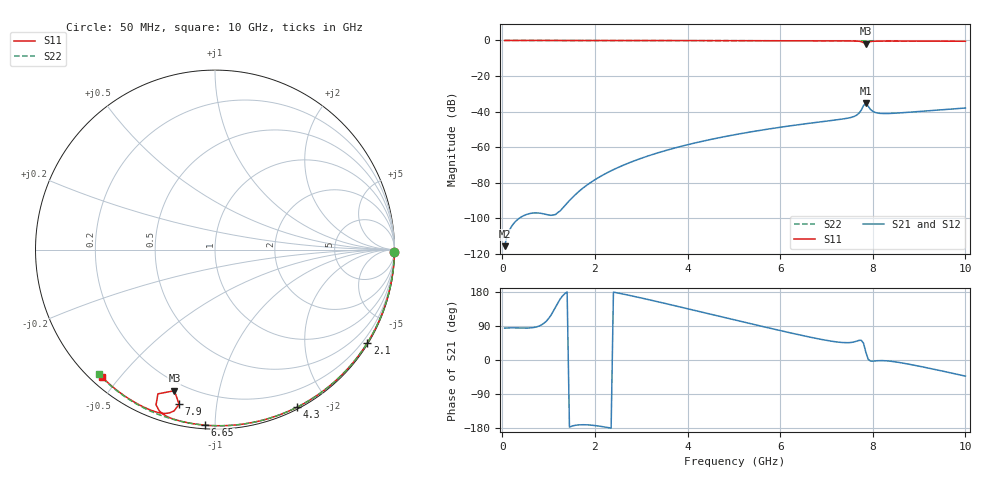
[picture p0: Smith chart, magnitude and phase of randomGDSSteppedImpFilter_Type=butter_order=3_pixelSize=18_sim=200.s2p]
! freq	dB(S11)	phase(S11)	dB(S12)	phase(S12)
!  dB(S21)	phase(S21)	dB(S22)	phase(S22)
!S-par simulation data
#  GHz  S  DB  R 50
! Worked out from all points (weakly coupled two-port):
!   200 points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, 50 MHz to 10 GHz, reference 50 ohm
!   highest |S21| = -35.29 dB at 7.85 GHz (marker M1); lowest = -115.7 dB at 50 MHz (marker M2)
!   lowest |S11| = -1.7 dB at 7.85 GHz (marker M3), VSWR 10.00, Z = 7.79 - j37.1 ohm
!   |S11| at or under -10 dB: nowhere
!   |S22| runs from -0.4 to 0.0 dB; largest |S21 - S12| = 0
!   S11 on the Smith chart (normalised r, x): 50 MHz: open; 2.1 GHz: 0.03, -3.54; 4.3 GHz: 0.02, -1.64; 6.65 GHz: 0.02, -0.94; 7.9 GHz: 0.10, -0.79; 10 GHz: 0.03, -0.45
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0.05  -0.00 -0.8  -115.67 84.2  -115.67 84.2  -0.00 -0.8
0.9  -0.02 -13.7  -97.56 97.1  -97.56 97.1  -0.02 -13.8
1.75  -0.03 -26.4  -82.84 -170.8  -82.84 -170.8  -0.03 -26.5
1.9  -0.04 -28.6  -80.00 -171.7  -80.00 -171.7  -0.04 -28.8
2.1  -0.04 -31.5  -76.74 -174.6  -76.74 -174.6  -0.04 -31.7
2.65  -0.05 -39.5  -69.74 173.0  -69.74 173.0  -0.05 -39.8
3.4  -0.07 -50.2  -62.86 152.6  -62.86 152.6  -0.07 -50.5
4.3  -0.09 -62.6  -56.80 126.6  -56.80 126.6  -0.09 -63.0
5.05  -0.11 -72.7  -52.85 104.8  -52.85 104.8  -0.11 -73.1
6.65  -0.18 -93.2  -46.50 60.2  -46.50 60.2  -0.18 -93.5
6.7  -0.18 -93.9  -46.33 58.9  -46.33 58.9  -0.18 -94.1
7.35  -0.23 -102.4  -44.17 46.0  -44.17 46.0  -0.22 -102.1
7.6  -0.30 -106.6  -42.70 47.8  -42.70 47.8  -0.24 -105.1
7.7  -0.45 -109.1  -40.99 51.6  -40.99 51.6  -0.24 -106.3
7.75  -0.67 -110.8  -39.22 52.1  -39.22 52.1  -0.25 -106.8
7.8  -1.27 -111.6  -36.64 44.3  -36.64 44.3  -0.25 -107.4
7.85  -1.74 -106.1  -35.29 20.7  -35.29 20.7  -0.25 -108.0
7.9  -1.06 -103.0  -36.96 2.2  -36.96 2.2  -0.25 -108.6
7.95  -0.65 -104.3  -38.75 -2.8  -38.75 -2.8  -0.26 -109.2
8.05  -0.41 -106.9  -40.46 -2.5  -40.46 -2.5  -0.26 -110.4
8.35  -0.32 -111.8  -41.06 -2.8  -41.06 -2.8  -0.29 -113.9
10  -0.46 -131.5  -37.98 -42.5  -37.98 -42.5  -0.45 -133.0
